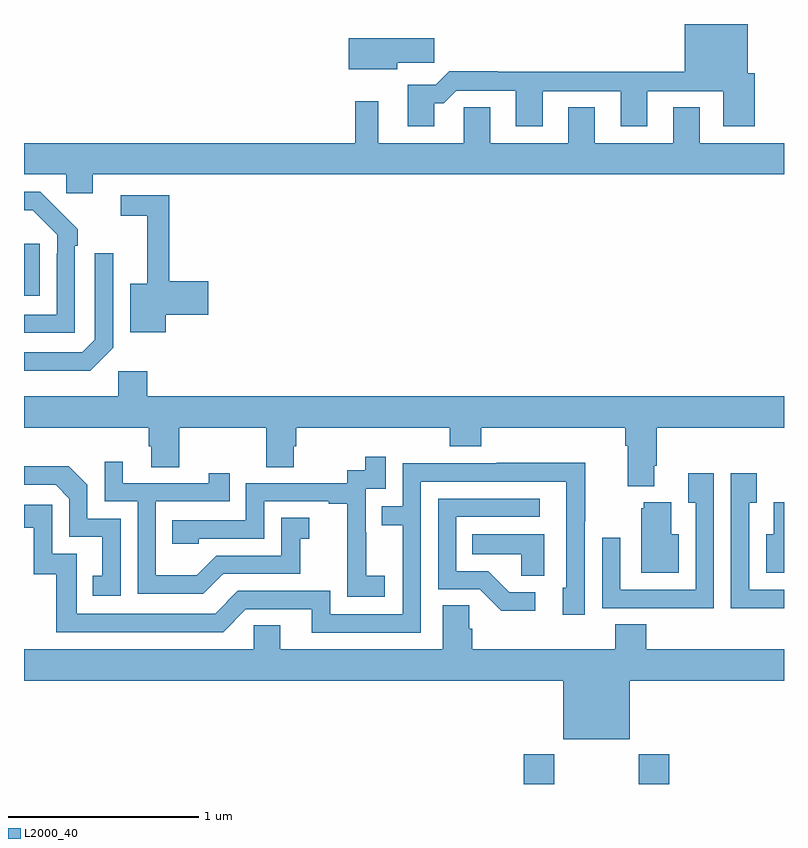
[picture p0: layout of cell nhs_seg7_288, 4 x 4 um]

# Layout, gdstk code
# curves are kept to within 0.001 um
import gdstk
lib = gdstk.Library(unit=1e-6, precision=1e-09)
def R(c, l, rs):  # rectangles x0, y0, x1, y1
    for r in rs: c.add(gdstk.rectangle(r[:2], r[2:], *l))
def P(c, l, *ps):  # polygons
    for p in ps: c.add(gdstk.Polygon(p, *l))
L2000_40 = (2000, 40)

nhs_seg7_288 = lib.new_cell('nhs_seg7_288')
R(nhs_seg7_288, L2000_40, [(133.631,1072,133.791,1072.156), (134.236,1072,134.396,1072.156), (131,1074.569,131.083,1074.844)])
P(nhs_seg7_288, L2000_40, [(133.159,1075.583),(133.208,1075.583),(133.275,1075.65),(133.589,1075.65),(133.589,1075.461),(133.729,1075.461),(133.729,1075.647),(134.141,1075.647),(134.141,1075.461),(134.281,1075.461),(134.281,1075.647),(134.681,1075.647),(134.681,1075.461),(134.846,1075.461),(134.846,1075.74),(134.809,1075.74),(134.809,1076),(134.477,1076),(134.477,1075.748),(133.493,1075.748),(133.493,1075.751),(133.238,1075.751),(133.168,1075.681),(133.019,1075.681),(133.019,1075.461),(133.159,1075.461)],
  [(132.964,1075.795),(133.159,1075.795),(133.159,1075.924),(132.71,1075.924),(132.71,1075.763),(132.964,1075.763)],
  [(131.362,1075.208),(135,1075.208),(135,1075.372),(134.557,1075.372),(134.557,1075.562),(134.417,1075.562),(134.417,1075.372),(134.005,1075.372),(134.005,1075.562),(133.865,1075.562),(133.865,1075.372),(133.453,1075.372),(133.453,1075.562),(133.314,1075.562),(133.314,1075.372),(132.865,1075.372),(132.865,1075.594),(132.744,1075.594),(132.744,1075.372),(131,1075.372),(131,1075.208),(131.223,1075.208),(131.223,1075.11),(131.362,1075.11)],
  [(131.268,1074.833),(131.283,1074.833),(131.283,1074.921),(131.086,1075.116),(131,1075.116),(131,1075.02),(131.047,1075.02),(131.175,1074.891),(131.175,1074.791),(131.172,1074.791),(131.172,1074.471),(131,1074.471),(131,1074.375),(131.268,1074.375)],
  [(131.746,1074.469),(131.971,1074.469),(131.971,1074.647),(131.765,1074.647),(131.765,1075.098),(131.508,1075.098),(131.508,1074.99),(131.648,1074.99),(131.648,1074.634),(131.558,1074.634),(131.558,1074.377),(131.746,1074.377)],
  [(131.469,1074.297),(131.469,1074.793),(131.373,1074.793),(131.373,1074.339),(131.307,1074.273),(131,1074.273),(131,1074.176),(131.348,1074.176)],
  [(134.317,1073.674),(134.33,1073.674),(134.33,1073.876),(135,1073.876),(135,1074.04),(131.648,1074.04),(131.648,1074.172),(131.496,1074.172),(131.496,1074.04),(131,1074.04),(131,1073.876),(131.657,1073.876),(131.657,1073.778),(131.669,1073.778),(131.669,1073.668),(131.817,1073.668),(131.817,1073.876),(132.274,1073.876),(132.274,1073.668),(132.421,1073.668),(132.421,1073.778),(132.434,1073.778),(132.434,1073.876),(133.241,1073.876),(133.241,1073.777),(133.406,1073.777),(133.406,1073.876),(134.165,1073.876),(134.165,1073.78),(134.177,1073.78),(134.177,1073.567),(134.317,1073.567)],
  [(132.898,1073.095),(132.8,1073.095),(132.8,1073.324),(132.798,1073.324),(132.798,1073.553),(132.903,1073.553),(132.903,1073.722),(132.795,1073.722),(132.795,1073.652),(132.702,1073.652),(132.702,1073.583),(132.168,1073.583),(132.168,1073.388),(131.779,1073.388),(131.779,1073.265),(131.919,1073.265),(131.919,1073.292),(132.264,1073.292),(132.264,1073.487),(132.605,1073.487),(132.605,1073.475),(132.701,1073.475),(132.701,1073.191),(132.7,1073.191),(132.7,1072.985),(132.898,1072.985)],
  [(132.049,1073.106),(132.453,1073.106),(132.453,1073.291),(132.502,1073.291),(132.502,1073.401),(132.354,1073.401),(132.354,1073.202),(132.012,1073.202),(131.908,1073.098),(131.694,1073.098),(131.694,1073.487),(132.083,1073.487),(132.083,1073.635),(131.972,1073.635),(131.972,1073.583),(131.521,1073.583),(131.521,1073.695),(131.424,1073.695),(131.424,1073.487),(131.598,1073.487),(131.598,1073.001),(131.944,1073.001)],
  [(133.089,1073.592),(133.854,1073.592),(133.854,1073.034),(133.835,1073.034),(133.835,1072.89),(133.95,1072.89),(133.95,1073.383),(133.953,1073.383),(133.953,1073.69),(133.489,1073.69),(133.489,1073.688),(132.993,1073.688),(132.993,1073.463),(132.883,1073.463),(132.883,1073.362),(132.993,1073.362),(132.993,1072.893),(132.612,1072.893),(132.612,1073.016),(132.126,1073.016),(132.006,1072.896),(131.277,1072.896),(131.277,1073.211),(131.148,1073.211),(131.148,1073.47),(131,1073.47),(131,1073.349),(131.051,1073.349),(131.051,1073.103),(131.169,1073.103),(131.169,1072.8),(132.048,1072.8),(132.168,1072.92),(132.515,1072.92),(132.515,1072.797),(133.089,1072.797)],
  [(131.508,1073.397),(131.334,1073.397),(131.334,1073.574),(131.236,1073.672),(131,1073.672),(131,1073.574),(131.166,1073.574),(131.238,1073.502),(131.238,1073.301),(131.411,1073.301),(131.411,1073.097),(131.362,1073.097),(131.362,1072.992),(131.508,1072.992)],
  [(134.631,1073.635),(134.495,1073.635),(134.495,1073.479),(134.535,1073.479),(134.535,1073.022),(134.139,1073.022),(134.139,1073.296),(134.043,1073.296),(134.043,1072.926),(134.359,1072.926),(134.359,1072.925),(134.631,1072.925)],
  [(134.993,1072.926),(135,1072.926),(135,1073.022),(134.817,1073.022),(134.817,1073.479),(134.857,1073.479),(134.857,1073.635),(134.721,1073.635),(134.721,1072.925),(134.993,1072.925)],
  [(133.69,1073.01),(133.555,1073.01),(133.444,1073.121),(133.275,1073.121),(133.275,1073.406),(133.714,1073.406),(133.714,1073.502),(133.179,1073.502),(133.179,1073.025),(133.398,1073.025),(133.511,1072.913),(133.69,1072.913)],
  [(135,1073.482),(134.945,1073.482),(134.945,1073.314),(134.906,1073.314),(134.906,1073.111),(135,1073.111)],
  [(134.446,1073.314),(134.407,1073.314),(134.407,1073.482),(134.261,1073.482),(134.261,1073.451),(134.249,1073.451),(134.249,1073.111),(134.446,1073.111)],
  [(133.738,1073.314),(133.36,1073.314),(133.36,1073.21),(133.617,1073.21),(133.617,1073.095),(133.738,1073.095)],
  [(134.188,1072.544),(135,1072.544),(135,1072.708),(134.276,1072.708),(134.276,1072.841),(134.111,1072.841),(134.111,1072.708),(133.358,1072.708),(133.358,1072.817),(133.344,1072.817),(133.344,1072.94),(133.205,1072.94),(133.205,1072.708),(132.349,1072.708),(132.349,1072.835),(132.21,1072.835),(132.21,1072.708),(131,1072.708),(131,1072.544),(133.838,1072.544),(133.838,1072.235),(134.188,1072.235)])

lib.write_gds('nhs_seg7_288.gds')
